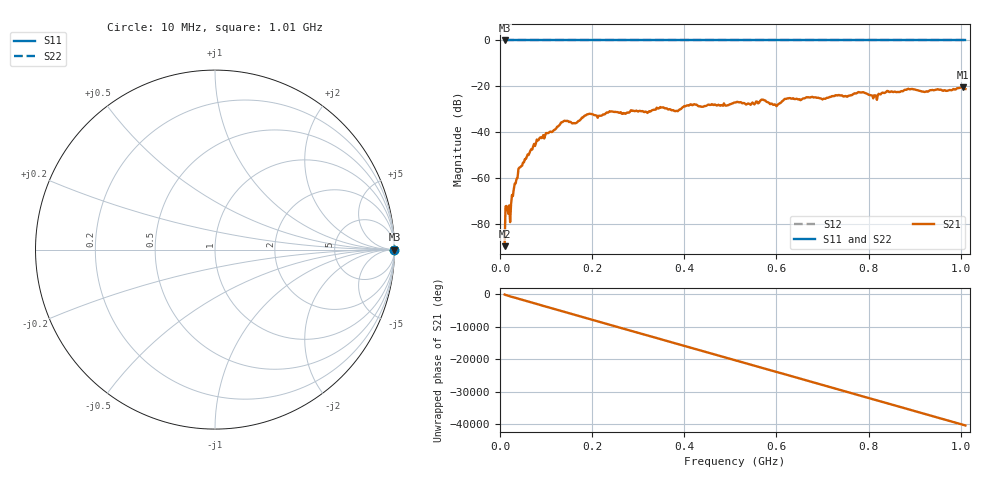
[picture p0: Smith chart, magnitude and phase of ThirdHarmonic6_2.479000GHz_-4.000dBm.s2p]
! 8/17/2025 4:36:41 AM
! C:\ANRITSUVNA\TEMP\TEMP.S2P
! CHANNEL.1
! TR.MEASUREMENT
! RAW.DATA
! RF.CORRECTION.OFF
! AVERAGING.OFF
! IF.BANDWIDTH: 5KHZ
! SWEEPTYPE:  FREQ.SWEEP(Linear)
! Reference Plane Port Info
! PORT:  PORT1  PORT2
! DISTANCE:  0  m  0  m
! TIME:  0  s  0  s
! PHASE.OFFSET:  0  deg.  0  deg.
! LOSS:  0  dB  0  dB
! REF.LOSS:  0  dB  0  dB
! REF.FREQ:  0  Hz  0  Hz
! Power Info
! POWER:  -20  dBm  -20  dBm
! EFF.POWER:  -20  dBm  -20  dBm
! SOURCE.ATTEN:  0  dB  0  dB
! TEST.ATTEN:  0  dB  0  dB
# GHZ S RI R 50.0
! FREQ.GHZ  S11RE  S11IM  S21RE  S21IM  S12RE  S12IM  S22RE  S22IM
!; PortSelection: Port_12
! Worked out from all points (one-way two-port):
!   501 points, 10 MHz to 1.01 GHz, reference 50 ohm
!   highest |S21| = -20.47 dB at 1.004 GHz (marker M1); lowest = -89.8 dB at 10 MHz (marker M2)
!   lowest |S11| = 0.0 dB at 10 MHz (marker M3)
!   |S11| at or under -10 dB: nowhere
!   |S22| runs from 0.0 to 0.0 dB; largest |S21 - S12| = 1.1
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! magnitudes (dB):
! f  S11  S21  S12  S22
! 10 MHz  0.0  -89.8  0.0  0.0
! 16 MHz  0.0  -73.1  0.0  0.0
! 22 MHz  0.0  -79.3  0.0  0.0
! 30 MHz  0.0  -64.8  0.0  0.0
! 44 MHz  0.0  -55.3  0.0  0.0
! 84 MHz  0.0  -43.4  0.0  0.0
! 136 MHz  0.0  -35.6  0.0  0.0
! 162 MHz  0.0  -36.1  0.0  0.0
! 178 MHz  0.0  -33.7  0.0  0.0
! 344 MHz  0.0  -29.7  0.0  0.0
! 382 MHz  0.0  -30.8  0.0  0.0
! 410 MHz  0.0  -28.4  0.0  0.0
! 510 MHz  0.0  -27.1  0.0  0.0
! 570 MHz  0.0  -25.9  0.0  0.0
! 598 MHz  0.0  -28.1  0.0  0.0
! 622 MHz  0.0  -25.5  0.0  0.0
! 678 MHz  0.0  -24.6  0.0  0.0
! 782 MHz  0.0  -22.7  0.0  0.0
! 814 MHz  0.0  -23.9  0.0  0.0
! 844 MHz  0.0  -22.5  0.0  0.0
! 1.004 GHz  0.0  -20.5  0.0  0.0
! 1.01 GHz  0.0  -21.2  0.0  0.0
